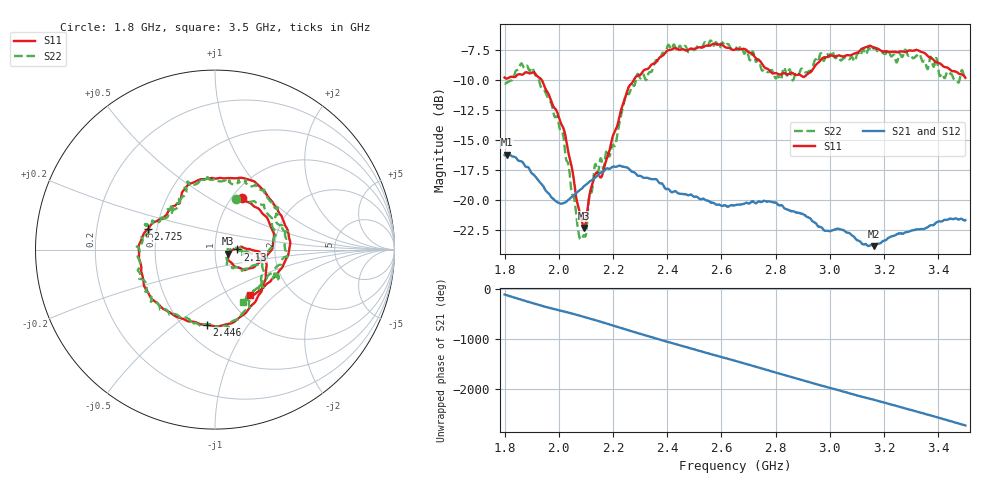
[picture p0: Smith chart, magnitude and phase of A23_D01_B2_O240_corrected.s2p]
! Created with skrf 1.9.0 (http://scikit-rf.org).
# Hz S RI R 50.0
!freq ReS11 ImS11 ReS21 ImS21 ReS12 ImS12 ReS22 ImS22
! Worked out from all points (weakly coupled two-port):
!   1601 points, 1.8 GHz to 3.5 GHz, reference 50 ohm
!   highest |S21| = -16.24 dB at 1.81 GHz (marker M1); lowest = -23.9 dB at 3.163 GHz (marker M2)
!   lowest |S11| = -22.4 dB at 2.093 GHz (marker M3), VSWR 1.17, Z = 57.8 - j2.56 ohm
!   |S11| at or under -10 dB: 1.936 GHz to 2.277 GHz (340.7 MHz wide, 16.2 % of centre)
!   |S22| runs from -23.3 to -6.7 dB; largest |S21 - S12| = 0.003
!   S11 on the Smith chart (normalised r, x): 1.8 GHz: 1.12, +0.71; 2.13 GHz: 1.28, +0.00; 2.446 GHz: 0.65, -0.66; 2.725 GHz: 0.45, +0.12; 3.5 GHz: 1.26, -0.72
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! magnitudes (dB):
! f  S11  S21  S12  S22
! 1.8 GHz  -9.8  -16.3  -16.3  -10.3
! 1.81 GHz  -9.9  -16.2  -16.3  -10.2
! 1.901 GHz  -9.4  -17.8  -17.7  -9.0
! 1.968 GHz  -11.5  -19.6  -19.7  -11.8
! 2.021 GHz  -14.3  -20.3  -20.3  -15.6
! 2.084 GHz  -21.6  -19.1  -19.0  -23.3
! 2.093 GHz  -22.4  -18.9  -18.9  -23.0
! 2.13 GHz  -18.1  -18.2  -18.2  -17.5
! 2.16 GHz  -17.9  -17.7  -17.6  -17.0
! 2.208 GHz  -14.3  -17.3  -17.2  -15.5
! 2.259 GHz  -10.5  -17.4  -17.4  -11.2
! 2.367 GHz  -8.3  -18.5  -18.5  -8.4
! 2.446 GHz  -7.5  -19.5  -19.5  -7.2
! 2.65 GHz  -7.5  -20.5  -20.4  -7.3
! 2.725 GHz  -8.2  -20.3  -20.3  -8.4
! 2.812 GHz  -9.5  -20.5  -20.4  -9.7
! 2.934 GHz  -9.3  -21.7  -21.7  -9.2
! 3.163 GHz  -7.3  -23.9  -23.8  -7.3
! 3.217 GHz  -7.7  -23.2  -23.1  -7.6
! 3.327 GHz  -7.6  -22.5  -22.4  -7.8
! 3.414 GHz  -8.8  -21.8  -21.8  -9.5
! 3.5 GHz  -9.8  -21.7  -21.7  -9.6
